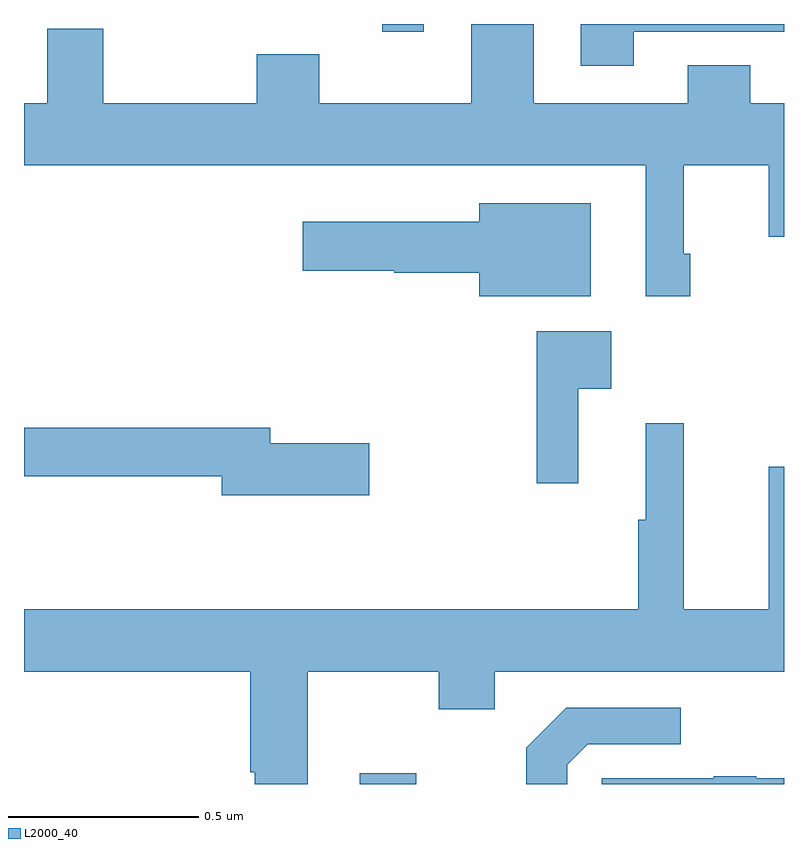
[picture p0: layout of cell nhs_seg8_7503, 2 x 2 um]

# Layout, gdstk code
import gdstk
lib = gdstk.Library(unit=1e-6, precision=1e-09)
def R(c, l, rs):  # rectangles x0, y0, x1, y1
    for r in rs: c.add(gdstk.rectangle(r[:2], r[2:], *l))
def P(c, l, *ps):  # polygons
    for p in ps: c.add(gdstk.Polygon(p, *l))
L2000_40 = (2000, 40)

nhs_seg8_7503 = lib.new_cell('nhs_seg8_7503')
R(nhs_seg8_7503, L2000_40, [(211.883,1086.9,212.032,1086.928), (211.943,1088.88,212.052,1088.9)])
P(nhs_seg8_7503, L2000_40, [(212.605,1088.88),(213,1088.88),(213,1088.9),(212.465,1088.9),(212.465,1088.79),(212.605,1088.79)],
  [(212.753,1088.296),(212.736,1088.296),(212.736,1088.528),(212.96,1088.528),(212.96,1088.34),(213,1088.34),(213,1088.692),(212.911,1088.692),(212.911,1088.791),(212.747,1088.791),(212.747,1088.692),(212.341,1088.692),(212.341,1088.899),(212.177,1088.899),(212.177,1088.692),(211.777,1088.692),(211.777,1088.821),(211.613,1088.821),(211.613,1088.692),(211.209,1088.692),(211.209,1088.887),(211.061,1088.887),(211.061,1088.692),(211,1088.692),(211,1088.528),(212.636,1088.528),(212.636,1088.184),(212.753,1088.184)],
  [(212.491,1088.428),(212.198,1088.428),(212.198,1088.38),(211.734,1088.38),(211.734,1088.251),(211.974,1088.251),(211.974,1088.246),(212.198,1088.246),(212.198,1088.183),(212.491,1088.183)],
  [(212.459,1087.94),(212.545,1087.94),(212.545,1088.092),(212.349,1088.092),(212.349,1087.692),(212.459,1087.692)],
  [(211.747,1087.196),(212.092,1087.196),(212.092,1087.097),(212.239,1087.097),(212.239,1087.196),(213,1087.196),(213,1087.735),(212.96,1087.735),(212.96,1087.36),(212.736,1087.36),(212.736,1087.849),(212.636,1087.849),(212.636,1087.596),(212.617,1087.596),(212.617,1087.36),(211,1087.36),(211,1087.196),(211.595,1087.196),(211.595,1086.931),(211.607,1086.931),(211.607,1086.9),(211.747,1086.9)],
  [(211.909,1087.797),(211.648,1087.797),(211.648,1087.838),(211,1087.838),(211,1087.71),(211.52,1087.71),(211.52,1087.66),(211.909,1087.66)],
  [(212.43,1086.951),(212.484,1087.005),(212.728,1087.005),(212.728,1087.101),(212.427,1087.101),(212.322,1086.995),(212.322,1086.9),(212.43,1086.9)],
  [(213,1086.915),(212.927,1086.915),(212.927,1086.92),(212.815,1086.92),(212.815,1086.915),(212.52,1086.915),(212.52,1086.9),(213,1086.9)])

lib.write_gds('nhs_seg8_7503.gds')
